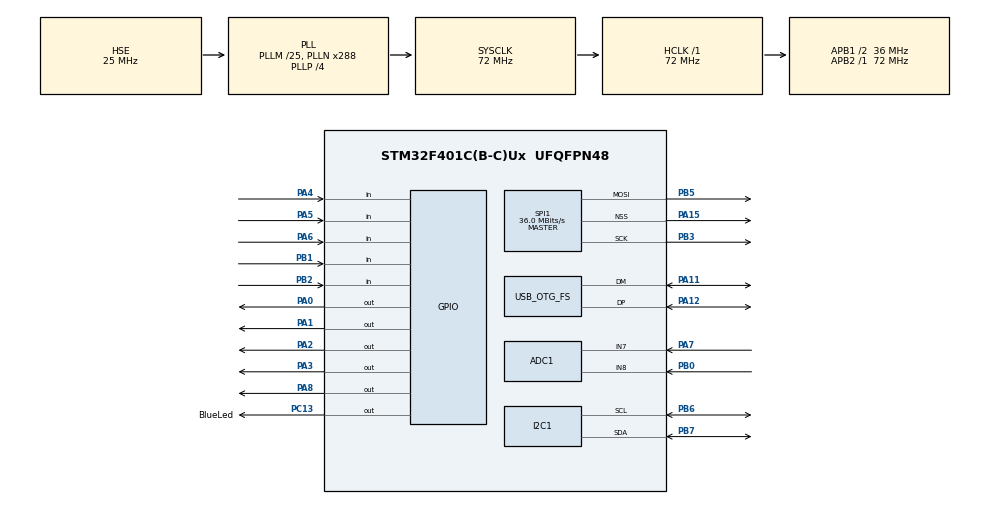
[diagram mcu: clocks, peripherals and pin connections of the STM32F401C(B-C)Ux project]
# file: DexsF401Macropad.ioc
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ADC1.Channel-3\#ChannelRegularConversion=ADC_CHANNEL_7
ADC1.Channel-4\#ChannelRegularConversion=ADC_CHANNEL_7
ADC1.ClockPrescaler=ADC_CLOCK_SYNC_PCLK_DIV6
ADC1.ContinuousConvMode=ENABLE
ADC1.DMAContinuousRequests=ENABLE
ADC1.EOCSelection=ADC_EOC_SEQ_CONV
ADC1.ExternalTrigConv=ADC_EXTERNALTRIGCONV_T3_TRGO
ADC1.InjNumberOfConversion=0
ADC1.NbrOfConversion=2
ADC1.NbrOfConversionFlag=1
ADC1.Rank-3\#ChannelRegularConversion=1
ADC1.Rank-4\#ChannelRegularConversion=2
ADC1.SamplingTime-3\#ChannelRegularConversion=ADC_SAMPLETIME_56CYCLES
ADC1.SamplingTime-4\#ChannelRegularConversion=ADC_SAMPLETIME_56CYCLES
ADC1.master=1
Dma.ADC1.2.Direction=DMA_PERIPH_TO_MEMORY
Dma.ADC1.2.FIFOMode=DMA_FIFOMODE_DISABLE
Dma.ADC1.2.Instance=DMA2_Stream0
Dma.ADC1.2.MemDataAlignment=DMA_MDATAALIGN_HALFWORD
Dma.ADC1.2.MemInc=DMA_MINC_ENABLE
Dma.ADC1.2.Mode=DMA_CIRCULAR
Dma.ADC1.2.PeriphDataAlignment=DMA_PDATAALIGN_HALFWORD
Dma.ADC1.2.PeriphInc=DMA_PINC_DISABLE
Dma.ADC1.2.Priority=DMA_PRIORITY_MEDIUM
Dma.I2C1_TX.0.Direction=DMA_MEMORY_TO_PERIPH
Dma.I2C1_TX.0.FIFOMode=DMA_FIFOMODE_DISABLE
Dma.I2C1_TX.0.Instance=DMA1_Stream6
Dma.I2C1_TX.0.MemDataAlignment=DMA_MDATAALIGN_BYTE
Dma.I2C1_TX.0.MemInc=DMA_MINC_ENABLE
Dma.I2C1_TX.0.Mode=DMA_NORMAL
Dma.I2C1_TX.0.PeriphDataAlignment=DMA_PDATAALIGN_BYTE
Dma.I2C1_TX.0.PeriphInc=DMA_PINC_DISABLE
Dma.I2C1_TX.0.Priority=DMA_PRIORITY_LOW
Dma.Request0=I2C1_TX
Dma.Request1=SPI1_TX
Dma.Request2=ADC1
Dma.SPI1_TX.1.Direction=DMA_MEMORY_TO_PERIPH
Dma.SPI1_TX.1.FIFOMode=DMA_FIFOMODE_DISABLE
Dma.SPI1_TX.1.Instance=DMA2_Stream3
Dma.SPI1_TX.1.MemDataAlignment=DMA_MDATAALIGN_BYTE
Dma.SPI1_TX.1.MemInc=DMA_MINC_ENABLE
Dma.SPI1_TX.1.Mode=DMA_NORMAL
Dma.SPI1_TX.1.PeriphDataAlignment=DMA_PDATAALIGN_BYTE
Dma.SPI1_TX.1.PeriphInc=DMA_PINC_DISABLE
Dma.SPI1_TX.1.Priority=DMA_PRIORITY_LOW
I2C1.I2C_Mode=I2C_Fast
Mcu.Family=STM32F4
Mcu.Name=STM32F401C(B-C)Ux
Mcu.Package=UFQFPN48
NVIC.DMA1_Stream6_IRQn=true\:0\:0\:false\:false\:true\:false\:true
NVIC.DMA2_Stream0_IRQn=true\:0\:0\:false\:false\:true\:false\:true
NVIC.DMA2_Stream3_IRQn=true\:0\:0\:false\:false\:true\:false\:true
NVIC.OTG_FS_IRQn=true\:0\:0\:false\:false\:true\:false\:true
NVIC.PriorityGroup=NVIC_PRIORITYGROUP_4
PA0-WKUP.GPIO_PuPd=GPIO_NOPULL
PA0-WKUP.GPIO_Speed=GPIO_SPEED_FREQ_LOW
PA0-WKUP.Signal=GPIO_Output
PA1.GPIO_PuPd=GPIO_NOPULL
PA1.GPIO_Speed=GPIO_SPEED_FREQ_LOW
PA1.Signal=GPIO_Output
PA11.Mode=Device_Only
PA11.Signal=USB_OTG_FS_DM
PA12.Mode=Device_Only
PA12.Signal=USB_OTG_FS_DP
PA13.Mode=Serial_Wire
PA13.Signal=SYS_JTMS-SWDIO
PA14.Mode=Serial_Wire
PA14.Signal=SYS_JTCK-SWCLK
PA15.Mode=NSS_Signal_Hard_Output
PA15.Signal=SPI1_NSS
PA2.GPIO_PuPd=GPIO_NOPULL
PA2.GPIO_Speed=GPIO_SPEED_FREQ_LOW
PA2.Signal=GPIO_Output
PA3.GPIO_Speed=GPIO_SPEED_FREQ_LOW
PA3.Signal=GPIO_Output
PA4.GPIO_PuPd=GPIO_PULLDOWN
PA4.Signal=GPIO_Input
PA5.Signal=GPIO_Input
PA6.GPIO_PuPd=GPIO_PULLDOWN
PA6.Signal=GPIO_Input
PA7.Signal=ADCx_IN7
PA8.GPIO_Speed=GPIO_SPEED_FREQ_HIGH
PA8.Signal=GPIO_Output
PB0.Signal=ADCx_IN8
PB1.Signal=GPIO_Input
PB2.Signal=GPIO_Input
PB3.Mode=TX_Only_Simplex_Unidirect_Master
PB3.Signal=SPI1_SCK
PB5.Mode=TX_Only_Simplex_Unidirect_Master
PB5.Signal=SPI1_MOSI
PB6.Mode=I2C
PB6.Signal=I2C1_SCL
PB7.Mode=I2C
PB7.Signal=I2C1_SDA
PC13-ANTI_TAMP.GPIO_Label=BlueLed
PC13-ANTI_TAMP.Signal=GPIO_Output
PC14-OSC32_IN.Mode=LSE-External-Oscillator
PC14-OSC32_IN.Signal=RCC_OSC32_IN
PC15-OSC32_OUT.Mode=LSE-External-Oscillator
PC15-OSC32_OUT.Signal=RCC_OSC32_OUT
PH0\ -\ OSC_IN.Mode=HSE-External-Oscillator
PH0\ -\ OSC_IN.Signal=RCC_OSC_IN
PH1\ -\ OSC_OUT.Mode=HSE-External-Oscillator
PH1\ -\ OSC_OUT.Signal=RCC_OSC_OUT
ProjectManager.HeapSize=0x200
ProjectManager.StackSize=0x400
ProjectManager.TargetToolchain=TrueSTUDIO
RCC.48MHZClocksFreq_Value=48000000
RCC.AHBFreq_Value=72000000
RCC.APB1CLKDivider=RCC_HCLK_DIV2
RCC.APB1Freq_Value=36000000
RCC.APB1TimFreq_Value=72000000
RCC.APB2Freq_Value=72000000
RCC.APB2TimFreq_Value=72000000
RCC.CortexFreq_Value=72000000
RCC.HCLKFreq_Value=72000000
RCC.HSE_VALUE=25000000
RCC.HSI_VALUE=16000000
RCC.PLLM=25
RCC.PLLN=288
RCC.PLLP=RCC_PLLP_DIV4
RCC.PLLQ=6
RCC.RCC_RTC_Clock_Source=RCC_RTCCLKSOURCE_LSI
RCC.RCC_RTC_Clock_SourceVirtual=RCC_RTCCLKSOURCE_LSE
RCC.SYSCLKFreq_VALUE=72000000
RCC.SYSCLKSource=RCC_SYSCLKSOURCE_PLLCLK
RCC.VCOOutputFreq_Value=288000000
SH.ADCx_IN7.0=ADC1_IN7,IN7
SH.ADCx_IN8.0=ADC1_IN8,IN8
SPI1.CalculateBaudRate=36.0 MBits/s
SPI1.Direction=SPI_DIRECTION_2LINES
SPI1.Mode=SPI_MODE_MASTER
SPI1.VirtualNSS=VM_NSSHARD
SPI1.VirtualType=VM_MASTER
TIM1.Period=65535
TIM1.Prescaler=7200
TIM1.TIM_MasterOutputTrigger=TIM_TRGO_ENABLE
TIM2.Period=10000
TIM2.Prescaler=7200
TIM2.TIM_MasterOutputTrigger=TIM_TRGO_UPDATE
TIM3.Period=100
TIM3.Prescaler=720
TIM3.TIM_MasterOutputTrigger=TIM_TRGO_UPDATE
USB_DEVICE.CLASS_NAME_FS=HID
USB_DEVICE.PRODUCT_STRING_HID_FS=DexsStm32f4Macropad
USB_DEVICE.VirtualMode=Hid
USB_DEVICE.VirtualModeFS=Hid_FS
USB_OTG_FS.VirtualMode=Device_Only
VP_RTC_VS_RTC_Activate.Mode=RTC_Enabled
VP_TIM1_VS_ClockSourceINT.Mode=Internal
VP_TIM2_VS_ClockSourceINT.Mode=Internal
VP_TIM3_VS_ClockSourceINT.Mode=Internal
VP_USB_DEVICE_VS_USB_DEVICE_HID_FS.Mode=HID_FS
board=custom

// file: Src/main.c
/* USER CODE BEGIN Header */
/**
  ******************************************************************************
  * @file           : main.c
  * @brief          : Main program body
  ******************************************************************************
  * @attention
  *
  * <h2><center>&copy; Copyright (c) 2021 STMicroelectronics.
  * All rights reserved.</center></h2>
  *
  * This software component is licensed by ST under Ultimate Liberty license
  * SLA0044, the "License"; You may not use this file except in compliance with
  * the License. You may obtain a copy of the License at:
  *                             www.st.com/SLA0044
  *
  ******************************************************************************
  */
/* USER CODE END Header */

#include "main.h"
#include "usb_device.h"
#include "keyboardBinds.h"
#include "usbd_core.h"
#include "usbd_conf.h"
#include "usbd_hid.h"
#include "usb_device.h"
#include "usbd_def.h"
#include "usbd_desc.h"
#include "usbd_ctlreq.h"
#include "usbd_ioreq.h"
#include "stdint.h"
#include "float.h"

/* USER CODE BEGIN Includes */
extern USBD_HandleTypeDef hUsbDeviceFS;

struct keyboardHID_t {
       uint8_t id;
       uint8_t modifiers;
       uint8_t key1;
       uint8_t key2;
       uint8_t key3;
   };
 struct mediaHID_t {
       uint8_t id;
       uint8_t keys;
     };

/* USER CODE END Includes */

I2C_HandleTypeDef hi2c1;
DMA_HandleTypeDef hdma_i2c1_tx;

RTC_HandleTypeDef hrtc;

SPI_HandleTypeDef hspi1;
DMA_HandleTypeDef hdma_spi1_tx;

TIM_HandleTypeDef htim1;
TIM_HandleTypeDef htim2;
TIM_HandleTypeDef htim3;

void SystemClock_Config(void);
static void MX_GPIO_Init(void);
static void MX_DMA_Init(void);
static void MX_I2C1_Init(void);
static void MX_RTC_Init(void);
static void MX_TIM1_Init(void);
static void MX_TIM2_Init(void);
static void MX_SPI1_Init(void);
static void MX_ADC1_Init(void);
static void MX_TIM3_Init(void);
/* USER CODE BEGIN PFP */

void debugTx(){

}

void debugSendStr(char * pStr){
	uint32_t i=0;
	while(pStr[i]!=0){
		ITM_SendChar(pStr[i]);
		i++;

	}

}

void debugSendMacro(struct t_macro * mac){
	char buf[64];
	macro2str(mac,buf,64);
	debugSendStr(buf);
}

struct t_controlState{
	uint16_t buttons:keysInPad;
	uint8_t pollState:2;
	uint8_t encoderState:2;
	int8_t encoderVal;
	float stickX;
	float stickY;
	uint8_t keysChangedFlag:4;
	uint32_t lastModified;

};
#define buttonFlag 1
#define modifiedThisCycleFlag 0b10
#define encoderFlag 0b100
#define joystickFlag 0b1000

void keypadReadStep(struct t_controlState * pCtrls){

	uint8_t columns=(GPIOA->IDR&0b01110000)>>4;
	uint8_t row=pCtrls->pollState * 3;

	uint16_t prevButtons=pCtrls->buttons;
	pCtrls->buttons&= ~(0b111<<row);//mask out those bits that could be set
	pCtrls->buttons|=columns<<row;//or in the new reading

	if((pCtrls->buttons)!=prevButtons){
		pCtrls->keysChangedFlag|=buttonFlag|modifiedThisCycleFlag;
	}

	if(pCtrls->pollState==4){
		pCtrls->pollState=0;
	}
	else{pCtrls->pollState++;}
	GPIOA->ODR=1<<(pCtrls->pollState);

}
#define encA 1<<1
#define encB 1<<2
volatile uint8_t encoderPeriod=0;//unused but for velocity
//change this as the encoder cannot stay low and the velocity can be determined by how long it is low for

void encoderPoll(struct t_controlState * pCtrls){

	uint8_t newReading=GPIOB->IDR&(encA|encB);

		switch(newReading){
		case encA:{
			if(pCtrls->encoderState){
				pCtrls->keysChangedFlag|=encoderFlag|modifiedThisCycleFlag;
				pCtrls->encoderVal+=1;
				pCtrls->encoderState=0;}
			break;
		}
		case encB:{
			if(pCtrls->encoderState){
				pCtrls->keysChangedFlag|=encoderFlag|modifiedThisCycleFlag;
				pCtrls->encoderVal-=1;
				pCtrls->encoderState=0;}
			break;
		}
		case (encA|encB):{
			pCtrls->encoderState=1;
			break;
		}
		default:{

		}

	}

}

volatile uint16_t nullStickPos[2]={(defaultJoystickLower+defaultJoystickUpper)/2,(defaultJoystickLower+defaultJoystickUpper)/2};
volatile float deadZoneRatio=0.05;
volatile uint16_t joystickMax=defaultJoystickUpper,joystickMin=defaultJoystickLower;
const float stickSensConst=0.7937;
volatile float joystickRangeConstant=0.7937*2/(joystickMax-joystickMin);

void setJoystickconsts(){
	joystickRangeConstant=stickSensConst*2/(joystickMax-joystickMin);
}

float joystickCurve(float posIn,uint8_t xOrY){
	if((posIn>nullStickPos[xOrY]*(1+deadZoneRatio))||(posIn<nullStickPos[xOrY]*(1-deadZoneRatio))){
		return(powf((posIn-nullStickPos[xOrY]) * joystickRangeConstant,3));
	}

	else{return(0);}
}

const float B[9] = {
     0.0914564877611,   0.1804615264734,  0.09171290738644,   0.1830235831451,
     0.1337392577709,   0.1830235831451,  0.09171290738644,   0.1804615264734,
     0.0914564877611
};

uint8_t joystickPoll(struct t_controlState * pCtrls,uint16_t * pStickBuf,uint8_t stickBufIndex){//includes curves
	if(ADC1->SR&(ADC_SR_EOC_Msk|ADC_SR_JEOC_Msk)){
		ADC1->SR&= ~(ADC_SR_EOC_Msk|ADC_SR_JEOC_Msk);

		float sumX=0,sumY=0;
		for(uint8_t i=0;i<stickBufLen/2;i++){
			sumX+=pStickBuf[((2*i)+stickBufIndex)%stickBufLen]*B[i];
			sumY+=pStickBuf[((2*i)+stickBufIndex+1)%stickBufLen]*B[i];

		}
		pCtrls->stickX=joystickCurve(sumX,0);
		pCtrls->stickY=joystickCurve(sumY,1);
		pCtrls->keysChangedFlag|=joystickFlag;
		return(stickBufIndex+=2);}
	else{return(stickBufIndex);}
}

//interval for running below function in 0.1ms increments
volatile uint16_t stateChangeDelay= 20;

void pollAllControlsStep(struct t_controlState * pCtrls){//run every 5ms
	keypadReadStep(pCtrls);
	encoderPoll(pCtrls);

	if(pCtrls->keysChangedFlag&modifiedThisCycleFlag){
		pCtrls->lastModified=TIM2->CNT;
	}
	//full keypad cycle occurs every 20ms

}

struct t_controlState * initPoll(){
	struct t_controlState * pCtrl = malloc(sizeof(struct t_controlState));
	pCtrl->buttons=0;
	pCtrl->encoderState=0;
	pCtrl->encoderVal=0;
	pCtrl->keysChangedFlag=0;
	pCtrl->pollState=0;
	pCtrl->stickX=0;
	pCtrl->stickY=0;
	pCtrl->lastModified=TIM2->CNT;

	return(pCtrl);
}

/*
void logToUsbKeys(uint16_t bitsOfButtons){
	struct keyboardHID_t keyboardHID;
	keyboardHID.id = 1;
	keyboardHID.modifiers = 0;
	keyboardHID.key1 = 0;
	keyboardHID.key2 = 0;
	keyboardHID.key3 = 0;

	if(bitsOfButtons==0){

	}
	else{
		uint8_t curButton=keysInPad;
		uint16_t buttonMask=1<<keysInPad;
		uint8_t i=0;

		while((i<usbKeySize)&&(curButton!=0)&&bitsOfButtons){
			buttonMask=buttonMask>>1;
			if(buttonMask&bitsOfButtons){
				(&keyboardHID.key1)[i]=curButton+4;
				i++;
				bitsOfButtons&=~buttonMask;

			}
			curButton--;

		}

	}
	USBD_HID_SendReport(&hUsbDeviceFS,&keyboardHID,sizeof(struct keyboardHID_t));

}
*/

#define maxOutputIndex 5
void ctrlDesignator(struct t_controlState * pCtrls,struct t_layout * pLayout){
	uint8_t keyboardOutputBytes[5]={1,0,0,0,0};

	uint8_t curOutputIndex=2;

	struct t_macro * mac;
	//check what macros are already running

	uint16_t buttons=pCtrls->buttons;

	if(buttons!=0){

			uint8_t curButton=keysInPad;
			uint16_t buttonMask=1<<keysInPad;

			while((curOutputIndex<maxOutputIndex)&&(curButton!=0)&&buttons){
				buttonMask=buttonMask>>1;
				mac=&(pLayout->keyBinds[curButton]);
				if(buttonMask&buttons){

					if((!mac->currentlyRunning)||mac->simpleKeyFlag){
						mac->currentlyRunning=1;
						mac->index=0;
						keyboardOutputBytes[curOutputIndex]=mac->keyLst[0];
						//debugSendMacro(mac);
						curOutputIndex++;
					}
					buttons&= ~buttonMask;
				}
				else if((mac->simpleKeyFlag)||(mac->index>mac->len)){
					mac->currentlyRunning=0;
				}
				curButton--;
			}

	}

	for(uint8_t i=0;i<keysInPad+2+4;i++){
		if(i<keysInPad){
			mac=&(pLayout->keyBinds[i]);
		}
		else{
			if(i<keysInPad+4){
				mac=&(pLayout->joystickKeys[i-(keysInPad)]);
			}
			else{
				mac=&(pLayout->dialKeys[i-(keysInPad+4)]);
			}

		}
			if(mac->currentlyRunning){

				mac->ticksRunning++;
				mac= &(pLayout->keyBinds[i]);
				if((!(mac->simpleKeyFlag)&&(mac->len!=1))
						?(((mac->delayLst[mac->index]+1)>(mac->ticksRunning))
						&&(curOutputIndex<maxOutputIndex)):0){
					//if the delay has passed and theres space to send it in this packet
					mac->index++;
					keyboardOutputBytes[curOutputIndex]=mac->keyLst[mac->index];

					curOutputIndex++;

				}
				else{

				}

			}
		}

	USBD_HID_SendReport(&hUsbDeviceFS,keyboardOutputBytes,maxOutputIndex);

}

/* USER CODE END PFP */

int main(void)
{

  /* MCU Configuration--------------------------------------------------------*/

  /* Reset of all peripherals, Initializes the Flash interface and the Systick. */
  HAL_Init();

  /* Configure the system clock */
  SystemClock_Config();

  /* Initialize all configured peripherals */
  MX_GPIO_Init();
  MX_DMA_Init();
  MX_I2C1_Init();
  MX_RTC_Init();
  MX_TIM1_Init();
  MX_USB_DEVICE_Init();
  MX_TIM2_Init();
  MX_SPI1_Init();
  MX_ADC1_Init();
  MX_TIM3_Init();
  /* USER CODE BEGIN 2 */

  USBD_Init(&hUsbDeviceFS, &FS_Desc, DEVICE_FS);

    USBD_RegisterClass(&hUsbDeviceFS, &USBD_HID);

    USBD_Start(&hUsbDeviceFS);

    struct keyboardHID_t keyboardHID;
    keyboardHID.id = 1;
    keyboardHID.modifiers = 0;
    keyboardHID.key1 = 0;
    keyboardHID.key2 = 0;
    keyboardHID.key3 = 0;
    // HID Media

    struct mediaHID_t mediaHID;
    mediaHID.id = 2;
    mediaHID.keys = 0;
    HAL_Delay(100);
    mediaHID.keys = 0xe9;
        USBD_HID_SendReport(&hUsbDeviceFS, (uint8_t *)&mediaHID, sizeof(struct mediaHID_t));
        HAL_Delay(30);
        mediaHID.keys = 0;
        USBD_HID_SendReport(&hUsbDeviceFS,(uint8_t *) &mediaHID, sizeof(struct mediaHID_t));
        HAL_Delay(30);

        keyboardHID.modifiers = 0;
        keyboardHID.key1 = 0;
        USBD_HID_SendReport(&hUsbDeviceFS, (uint8_t *)&keyboardHID, sizeof(struct keyboardHID_t));
        HAL_Delay(30);
        keyboardHID.modifiers = 0;
        keyboardHID.key1 = 0;
        USBD_HID_SendReport(&hUsbDeviceFS, (uint8_t *)&keyboardHID, sizeof(struct keyboardHID_t));

  HAL_TIM_Base_Start(&htim1);

  HAL_TIM_Base_Init(&htim2);
  HAL_TIM_Base_Start(&htim2);

  htim1.Instance->CNT=0;
  	  		HAL_TIM_Base_Start(&htim1);
  	  		struct t_controlState * pControlState=initPoll();
  	  		struct t_layout * testLayout=createLayout(
  	  			"ku128;ku82;ku129;",//vol up, arrow up,vol down
  	  			"ku74;kch.5,kci;ku77;",//home, Press H, wait 5, press i, end
  	  			"ku76;ku68;ku56;",//delete, f11, /
  	  			"ku55;ku40;ku116;",//backslash, enter, execute
  	  			"Test layout",
  	  			"ku79;ku80;ku81;ku82;",
  	  			"ku128;ku129;"
  	  		);

  	  	uint16_t adcBuffer[16]={2048,2048,2048,2048,2048,2048,2048,2048,2048,2048,2048,2048,2048,2048,2048,2048};
  	  uint8_t stickBufIndex=0;
  	  	HAL_ADC_Init(&hadc1);
  	  	HAL_ADC_Start_DMA(&hadc1,adcBuffer,2);

  /* USER CODE END 2 */

  /* Infinite loop */
  /* USER CODE BEGIN WHILE */
  while (1)
  {
	  if(htim1.Instance->CNT>stateChangeDelay){
	  		htim1.Instance->CNT=0;
	  		HAL_TIM_Base_Start(&htim1);
	  		pollAllControlsStep(pControlState);
	  	}

	  if(pControlState->keysChangedFlag){
		  ctrlDesignator(pControlState,testLayout);
		  pControlState->keysChangedFlag=0;
	  }
	  stickBufIndex=joystickPoll(&pControlState,adcBuffer,stickBufIndex);

    /* USER CODE END WHILE */

  }
}

void SystemClock_Config(void)
{
  RCC_OscInitTypeDef RCC_OscInitStruct = {0};
  RCC_ClkInitTypeDef RCC_ClkInitStruct = {0};
  RCC_PeriphCLKInitTypeDef PeriphClkInitStruct = {0};

  /** Configure the main internal regulator output voltage
  */
  __HAL_RCC_PWR_CLK_ENABLE();
  __HAL_PWR_VOLTAGESCALING_CONFIG(PWR_REGULATOR_VOLTAGE_SCALE2);
  /** Initializes the CPU, AHB and APB busses clocks
  */
  RCC_OscInitStruct.OscillatorType = RCC_OSCILLATORTYPE_LSI|RCC_OSCILLATORTYPE_HSE;
  RCC_OscInitStruct.HSEState = RCC_HSE_ON;
  RCC_OscInitStruct.LSIState = RCC_LSI_ON;
  RCC_OscInitStruct.PLL.PLLState = RCC_PLL_ON;
  RCC_OscInitStruct.PLL.PLLSource = RCC_PLLSOURCE_HSE;
  RCC_OscInitStruct.PLL.PLLM = 25;
  RCC_OscInitStruct.PLL.PLLN = 288;
  RCC_OscInitStruct.PLL.PLLP = RCC_PLLP_DIV4;
  RCC_OscInitStruct.PLL.PLLQ = 6;
  if (HAL_RCC_OscConfig(&RCC_OscInitStruct) != HAL_OK)
  {
    Error_Handler();
  }
  /** Initializes the CPU, AHB and APB busses clocks
  */
  RCC_ClkInitStruct.ClockType = RCC_CLOCKTYPE_HCLK|RCC_CLOCKTYPE_SYSCLK
                              |RCC_CLOCKTYPE_PCLK1|RCC_CLOCKTYPE_PCLK2;
  RCC_ClkInitStruct.SYSCLKSource = RCC_SYSCLKSOURCE_PLLCLK;
  RCC_ClkInitStruct.AHBCLKDivider = RCC_SYSCLK_DIV1;
  RCC_ClkInitStruct.APB1CLKDivider = RCC_HCLK_DIV2;
  RCC_ClkInitStruct.APB2CLKDivider = RCC_HCLK_DIV1;

  if (HAL_RCC_ClockConfig(&RCC_ClkInitStruct, FLASH_LATENCY_2) != HAL_OK)
  {
    Error_Handler();
  }
  PeriphClkInitStruct.PeriphClockSelection = RCC_PERIPHCLK_RTC;
  PeriphClkInitStruct.RTCClockSelection = RCC_RTCCLKSOURCE_LSI;
  if (HAL_RCCEx_PeriphCLKConfig(&PeriphClkInitStruct) != HAL_OK)
  {
    Error_Handler();
  }
}

static void MX_ADC1_Init(void)
{

  ADC_ChannelConfTypeDef sConfig = {0};

  /** Configure the global features of the ADC (Clock, Resolution, Data Alignment and number of conversion)
  */
  hadc1.Instance = ADC1;
  hadc1.Init.ClockPrescaler = ADC_CLOCK_SYNC_PCLK_DIV6;
  hadc1.Init.Resolution = ADC_RESOLUTION_12B;
  hadc1.Init.ScanConvMode = ENABLE;
  hadc1.Init.ContinuousConvMode = ENABLE;
  hadc1.Init.DiscontinuousConvMode = DISABLE;
  hadc1.Init.ExternalTrigConvEdge = ADC_EXTERNALTRIGCONVEDGE_RISING;
  hadc1.Init.ExternalTrigConv = ADC_EXTERNALTRIGCONV_T3_TRGO;
  hadc1.Init.DataAlign = ADC_DATAALIGN_RIGHT;
  hadc1.Init.NbrOfConversion = 2;
  hadc1.Init.DMAContinuousRequests = ENABLE;
  hadc1.Init.EOCSelection = ADC_EOC_SEQ_CONV;
  if (HAL_ADC_Init(&hadc1) != HAL_OK)
  {
    Error_Handler();
  }
  /** Configure for the selected ADC regular channel its corresponding rank in the sequencer and its sample time.
  */
  sConfig.Channel = ADC_CHANNEL_7;
  sConfig.Rank = 1;
  sConfig.SamplingTime = ADC_SAMPLETIME_56CYCLES;
  if (HAL_ADC_ConfigChannel(&hadc1, &sConfig) != HAL_OK)
  {
    Error_Handler();
  }
  /** Configure for the selected ADC regular channel its corresponding rank in the sequencer and its sample time.
  */
  sConfig.Rank = 2;
  if (HAL_ADC_ConfigChannel(&hadc1, &sConfig) != HAL_OK)
  {
    Error_Handler();
  }

}

static void MX_I2C1_Init(void)
{

  hi2c1.Instance = I2C1;
  hi2c1.Init.ClockSpeed = 400000;
  hi2c1.Init.DutyCycle = I2C_DUTYCYCLE_2;
  hi2c1.Init.OwnAddress1 = 0;
  hi2c1.Init.AddressingMode = I2C_ADDRESSINGMODE_7BIT;
  hi2c1.Init.DualAddressMode = I2C_DUALADDRESS_DISABLE;
  hi2c1.Init.OwnAddress2 = 0;
  hi2c1.Init.GeneralCallMode = I2C_GENERALCALL_DISABLE;
  hi2c1.Init.NoStretchMode = I2C_NOSTRETCH_DISABLE;
  if (HAL_I2C_Init(&hi2c1) != HAL_OK)
  {
    Error_Handler();
  }

}

static void MX_RTC_Init(void)
{

  /** Initialize RTC Only
  */
  hrtc.Instance = RTC;
  hrtc.Init.HourFormat = RTC_HOURFORMAT_24;
  hrtc.Init.AsynchPrediv = 127;
  hrtc.Init.SynchPrediv = 255;
  hrtc.Init.OutPut = RTC_OUTPUT_DISABLE;
  hrtc.Init.OutPutPolarity = RTC_OUTPUT_POLARITY_HIGH;
  hrtc.Init.OutPutType = RTC_OUTPUT_TYPE_OPENDRAIN;
  if (HAL_RTC_Init(&hrtc) != HAL_OK)
  {
    Error_Handler();
  }

}

static void MX_SPI1_Init(void)
{

  /* SPI1 parameter configuration*/
  hspi1.Instance = SPI1;
  hspi1.Init.Mode = SPI_MODE_MASTER;
  hspi1.Init.Direction = SPI_DIRECTION_2LINES;
  hspi1.Init.DataSize = SPI_DATASIZE_8BIT;
  hspi1.Init.CLKPolarity = SPI_POLARITY_LOW;
  hspi1.Init.CLKPhase = SPI_PHASE_1EDGE;
  hspi1.Init.NSS = SPI_NSS_HARD_OUTPUT;
  hspi1.Init.BaudRatePrescaler = SPI_BAUDRATEPRESCALER_2;
  hspi1.Init.FirstBit = SPI_FIRSTBIT_MSB;
  hspi1.Init.TIMode = SPI_TIMODE_DISABLE;
  hspi1.Init.CRCCalculation = SPI_CRCCALCULATION_DISABLE;
  hspi1.Init.CRCPolynomial = 10;
  if (HAL_SPI_Init(&hspi1) != HAL_OK)
  {
    Error_Handler();
  }

}

static void MX_TIM1_Init(void)
{

  TIM_ClockConfigTypeDef sClockSourceConfig = {0};
  TIM_MasterConfigTypeDef sMasterConfig = {0};

  htim1.Instance = TIM1;
  htim1.Init.Prescaler = 7200;
  htim1.Init.CounterMode = TIM_COUNTERMODE_UP;
  htim1.Init.Period = 65535;
  htim1.Init.ClockDivision = TIM_CLOCKDIVISION_DIV1;
  htim1.Init.RepetitionCounter = 0;
  htim1.Init.AutoReloadPreload = TIM_AUTORELOAD_PRELOAD_DISABLE;
  if (HAL_TIM_Base_Init(&htim1) != HAL_OK)
  {
    Error_Handler();
  }
  sClockSourceConfig.ClockSource = TIM_CLOCKSOURCE_INTERNAL;
  if (HAL_TIM_ConfigClockSource(&htim1, &sClockSourceConfig) != HAL_OK)
  {
    Error_Handler();
  }
  sMasterConfig.MasterOutputTrigger = TIM_TRGO_ENABLE;
  sMasterConfig.MasterSlaveMode = TIM_MASTERSLAVEMODE_DISABLE;
  if (HAL_TIMEx_MasterConfigSynchronization(&htim1, &sMasterConfig) != HAL_OK)
  {
    Error_Handler();
  }

}

static void MX_TIM2_Init(void)
{

  TIM_ClockConfigTypeDef sClockSourceConfig = {0};
  TIM_MasterConfigTypeDef sMasterConfig = {0};

  htim2.Instance = TIM2;
  htim2.Init.Prescaler = 7200;
  htim2.Init.CounterMode = TIM_COUNTERMODE_UP;
  htim2.Init.Period = 10000;
  htim2.Init.ClockDivision = TIM_CLOCKDIVISION_DIV1;
  htim2.Init.AutoReloadPreload = TIM_AUTORELOAD_PRELOAD_DISABLE;
  if (HAL_TIM_Base_Init(&htim2) != HAL_OK)
  {
    Error_Handler();
  }
  sClockSourceConfig.ClockSource = TIM_CLOCKSOURCE_INTERNAL;
  if (HAL_TIM_ConfigClockSource(&htim2, &sClockSourceConfig) != HAL_OK)
  {
    Error_Handler();
  }
  sMasterConfig.MasterOutputTrigger = TIM_TRGO_UPDATE;
  sMasterConfig.MasterSlaveMode = TIM_MASTERSLAVEMODE_DISABLE;
  if (HAL_TIMEx_MasterConfigSynchronization(&htim2, &sMasterConfig) != HAL_OK)
  {
    Error_Handler();
  }

}

static void MX_TIM3_Init(void)
{

  TIM_ClockConfigTypeDef sClockSourceConfig = {0};
  TIM_MasterConfigTypeDef sMasterConfig = {0};

  htim3.Instance = TIM3;
  htim3.Init.Prescaler = 720;
  htim3.Init.CounterMode = TIM_COUNTERMODE_UP;
  htim3.Init.Period = 100;
  htim3.Init.ClockDivision = TIM_CLOCKDIVISION_DIV1;
  htim3.Init.AutoReloadPreload = TIM_AUTORELOAD_PRELOAD_DISABLE;
  if (HAL_TIM_Base_Init(&htim3) != HAL_OK)
  {
    Error_Handler();
  }
  sClockSourceConfig.ClockSource = TIM_CLOCKSOURCE_INTERNAL;
  if (HAL_TIM_ConfigClockSource(&htim3, &sClockSourceConfig) != HAL_OK)
  {
    Error_Handler();
  }
  sMasterConfig.MasterOutputTrigger = TIM_TRGO_UPDATE;
  sMasterConfig.MasterSlaveMode = TIM_MASTERSLAVEMODE_DISABLE;
  if (HAL_TIMEx_MasterConfigSynchronization(&htim3, &sMasterConfig) != HAL_OK)
  {
    Error_Handler();
  }

}

static void MX_DMA_Init(void)
{

  /* DMA controller clock enable */
  __HAL_RCC_DMA1_CLK_ENABLE();
  __HAL_RCC_DMA2_CLK_ENABLE();

  /* DMA interrupt init */
  /* DMA1_Stream6_IRQn interrupt configuration */
  HAL_NVIC_SetPriority(DMA1_Stream6_IRQn, 0, 0);
  HAL_NVIC_EnableIRQ(DMA1_Stream6_IRQn);
  /* DMA2_Stream0_IRQn interrupt configuration */
  HAL_NVIC_SetPriority(DMA2_Stream0_IRQn, 0, 0);
  HAL_NVIC_EnableIRQ(DMA2_Stream0_IRQn);
  /* DMA2_Stream3_IRQn interrupt configuration */
  HAL_NVIC_SetPriority(DMA2_Stream3_IRQn, 0, 0);
  HAL_NVIC_EnableIRQ(DMA2_Stream3_IRQn);

}

static void MX_GPIO_Init(void)
{
  GPIO_InitTypeDef GPIO_InitStruct = {0};

  /* GPIO Ports Clock Enable */
  __HAL_RCC_GPIOC_CLK_ENABLE();
  __HAL_RCC_GPIOH_CLK_ENABLE();
  __HAL_RCC_GPIOA_CLK_ENABLE();
  __HAL_RCC_GPIOB_CLK_ENABLE();

  /*Configure GPIO pin Output Level */
  HAL_GPIO_WritePin(BlueLed_GPIO_Port, BlueLed_Pin, GPIO_PIN_RESET);

  /*Configure GPIO pin Output Level */
  HAL_GPIO_WritePin(GPIOA, GPIO_PIN_0|GPIO_PIN_1|GPIO_PIN_2|GPIO_PIN_3
                          |GPIO_PIN_8, GPIO_PIN_RESET);

  /*Configure GPIO pin : BlueLed_Pin */
  GPIO_InitStruct.Pin = BlueLed_Pin;
  GPIO_InitStruct.Mode = GPIO_MODE_OUTPUT_PP;
  GPIO_InitStruct.Pull = GPIO_NOPULL;
  GPIO_InitStruct.Speed = GPIO_SPEED_FREQ_LOW;
  HAL_GPIO_Init(BlueLed_GPIO_Port, &GPIO_InitStruct);

  /*Configure GPIO pins : PA0 PA1 PA2 PA3 */
  GPIO_InitStruct.Pin = GPIO_PIN_0|GPIO_PIN_1|GPIO_PIN_2|GPIO_PIN_3;
  GPIO_InitStruct.Mode = GPIO_MODE_OUTPUT_PP;
  GPIO_InitStruct.Pull = GPIO_NOPULL;
  GPIO_InitStruct.Speed = GPIO_SPEED_FREQ_LOW;
  HAL_GPIO_Init(GPIOA, &GPIO_InitStruct);

  /*Configure GPIO pins : PA4 PA6 */
  GPIO_InitStruct.Pin = GPIO_PIN_4|GPIO_PIN_6;
  GPIO_InitStruct.Mode = GPIO_MODE_INPUT;
  GPIO_InitStruct.Pull = GPIO_PULLDOWN;
  HAL_GPIO_Init(GPIOA, &GPIO_InitStruct);

  /*Configure GPIO pin : PA5 */
  GPIO_InitStruct.Pin = GPIO_PIN_5;
  GPIO_InitStruct.Mode = GPIO_MODE_INPUT;
  GPIO_InitStruct.Pull = GPIO_NOPULL;
  HAL_GPIO_Init(GPIOA, &GPIO_InitStruct);

  /*Configure GPIO pins : PB1 PB2 */
  GPIO_InitStruct.Pin = GPIO_PIN_1|GPIO_PIN_2;
  GPIO_InitStruct.Mode = GPIO_MODE_INPUT;
  GPIO_InitStruct.Pull = GPIO_NOPULL;
  HAL_GPIO_Init(GPIOB, &GPIO_InitStruct);

  /*Configure GPIO pin : PA8 */
  GPIO_InitStruct.Pin = GPIO_PIN_8;
  GPIO_InitStruct.Mode = GPIO_MODE_OUTPUT_PP;
  GPIO_InitStruct.Pull = GPIO_NOPULL;
  GPIO_InitStruct.Speed = GPIO_SPEED_FREQ_HIGH;
  HAL_GPIO_Init(GPIOA, &GPIO_InitStruct);

}

void Error_Handler(void)
{
}

/************************ (C) COPYRIGHT STMicroelectronics *****END OF FILE****/
